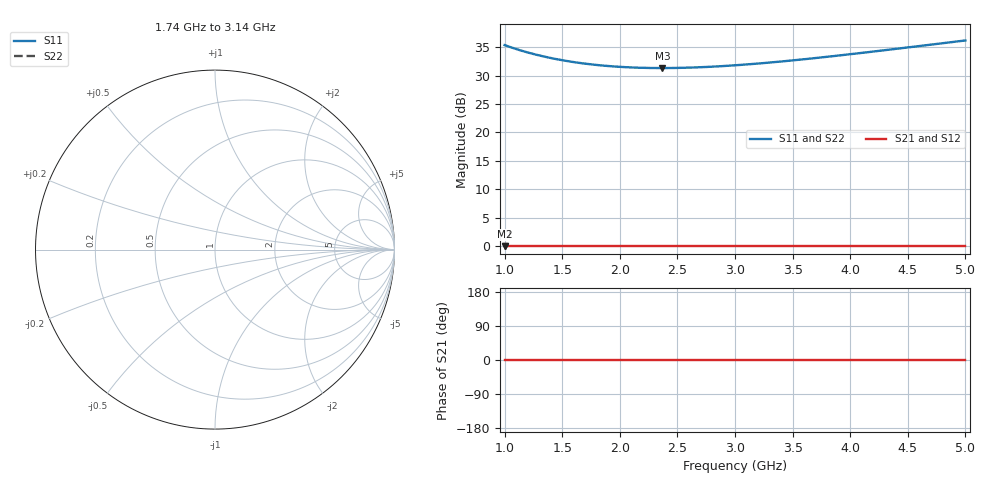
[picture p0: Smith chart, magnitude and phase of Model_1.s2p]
# GHZ S RI R 50
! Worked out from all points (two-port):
!   401 points, 1 GHz to 5 GHz, reference 50 ohm
!   highest |S21| = 0.00 dB at 1 GHz (marker M1); lowest = 0.0 dB at 1 GHz (marker M2)
!   |S21| within 3 dB of the highest: start of sweep to end of sweep
!   lowest |S11| = 31.3 dB at 2.37 GHz (marker M3)
!   |S11| at or under -10 dB: nowhere
!   |S22| runs from 31.3 to 36.2 dB; largest |S21 - S12| = 0
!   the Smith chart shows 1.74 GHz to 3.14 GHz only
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1  58.59 0  1 0  1 0  58.59 0
1.02  57.61 0  1 0  1 0  57.61 0
1.15  52.2 0  1 0  1 0  52.2 0
1.22  49.85 0  1 0  1 0  49.85 0
1.3  47.54 0  1 0  1 0  47.54 0
1.38  45.57 0  1 0  1 0  45.57 0
1.47  43.7 0  1 0  1 0  43.7 0
1.57  41.98 0  1 0  1 0  41.98 0
1.67  40.58 0  1 0  1 0  40.58 0
1.82  38.98 0  1 0  1 0  38.98 0
1.98  37.82 0  1 0  1 0  37.82 0
2.15  37.1 0  1 0  1 0  37.1 0
2.34  36.8 0  1 0  1 0  36.8 0
2.37  36.8 0  1 0  1 0  36.8 0
2.67  37.32 0  1 0  1 0  37.32 0
3  38.92 0  1 0  1 0  38.92 0
3.33  41.39 0  1 0  1 0  41.39 0
3.67  44.75 0  1 0  1 0  44.75 0
4  48.7 0  1 0  1 0  48.7 0
4.34  53.42 0  1 0  1 0  53.42 0
4.64  58.11 0  1 0  1 0  58.11 0
5  64.36 0  1 0  1 0  64.36 0
